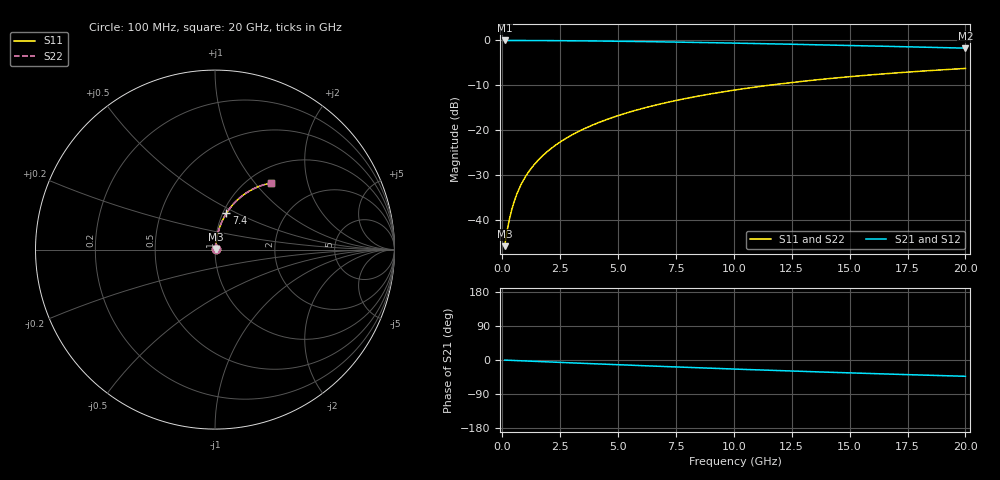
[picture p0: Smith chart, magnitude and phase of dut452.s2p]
! Touchstone file exported from HFSS 2024.1.0
!  File:  C:/UserFiles/LocalFiles/RDL_TSV_Batchsim/temp_RDL_top_452_1779677219.aedt
!  Generated:  10:49:12 AM May 25, 2026
!  Design:  RDL_top
!  Project:  temp_RDL_top_452_1779677219
!  Setup:  Setup1
!  Solution:  Sweep
! Variables:
!  dtsv = 10.80580581um
!  hbump = 3um
!  htsv = 69.45um
!  ldown = 100um
!  lrdl = 558.44um
!  p = 40
!  p1 = 48.81um
!  rhole = 1um
!  t = 450um
!  tdown = 3.915915916um
!  trdl = 4.36um
!  wdown = 15.38538539um
!  wrdl = 11.02um
# GHz S MA R 50.000000
! Terminal data exported
! Port[1] = Box2_T1
! Port[2] = Box2_T2
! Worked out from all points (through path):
!   200 points, 100 MHz to 20 GHz, reference 50 ohm
!   highest |S21| = -0.04 dB at 100 MHz (marker M1); lowest = -1.7 dB at 20 GHz (marker M2)
!   group delay of S21, straight-line fit = 5.97 ps
!   lowest |S11| = -45.8 dB at 100 MHz (marker M3), VSWR 1.01, Z = 50.4 + j0.306 ohm
!   |S11| at or under -10 dB: start of sweep to 11.52 GHz
!   |S22| runs from -45.8 to -6.3 dB; largest |S21 - S12| = 3.5e-15
!   S11 on the Smith chart (normalised r, x): 100 MHz: 1.01, +0.01; 7.4 GHz: 1.04, +0.44; 20 GHz: 1.26, +1.22
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0.1  0.005147 36.2  0.9958 -0.3  0.9958 -0.3  0.005147 36.2
! Gamma 0 0 0 0
! Port Impedance 50 0 50 0
0.2  0.00738 55.3  0.9958 -0.5  0.9958 -0.5  0.007376 55.4
0.3  0.01005 64.9  0.9957 -0.8  0.9957 -0.8  0.01004 64.9
0.4  0.01287 70.2  0.9955 -1.0  0.9955 -1.0  0.01286 70.2
0.5  0.01576 73.4  0.9954 -1.3  0.9954 -1.3  0.01575 73.5
0.6  0.01868 75.6  0.9953 -1.5  0.9953 -1.5  0.01866 75.7
0.8  0.02455 78.2  0.9949 -2.1  0.9949 -2.1  0.02453 78.2
1.1  0.03335 80.0  0.9944 -2.8  0.9944 -2.8  0.03333 80.0
1.5  0.04504 80.9  0.9935 -3.8  0.9935 -3.8  0.04502 80.9
1.8  0.05376 81.1  0.9926 -4.6  0.9926 -4.6  0.05375 81.1
2.1  0.06247 81.0  0.9916 -5.3  0.9916 -5.3  0.06246 81.0
2.7  0.07982 80.6  0.9893 -6.9  0.9893 -6.9  0.07981 80.6
3.5  0.1028 79.6  0.9854 -8.8  0.9854 -8.8  0.1028 79.6
4.2  0.1228 78.5  0.9813 -10.6  0.9813 -10.6  0.1228 78.5
5  0.1454 77.1  0.9759 -12.5  0.9759 -12.5  0.1454 77.1
6.8  0.1953 73.8  0.9617 -16.7  0.9617 -16.7  0.1953 73.8
7.4  0.2115 72.7  0.9564 -18.1  0.9564 -18.1  0.2115 72.6
8.7  0.2459 70.2  0.9441 -21.0  0.9441 -21.0  0.2459 70.1
10.1  0.2816 67.5  0.9299 -24.1  0.9299 -24.1  0.2815 67.4
13.4  0.3596 61.2  0.8937 -30.9  0.8937 -30.9  0.3594 61.2
16.7  0.428 55.3  0.8558 -37.2  0.8558 -37.2  0.4278 55.2
20  0.4866 49.7  0.818 -43.0  0.818 -43.0  0.4864 49.7
